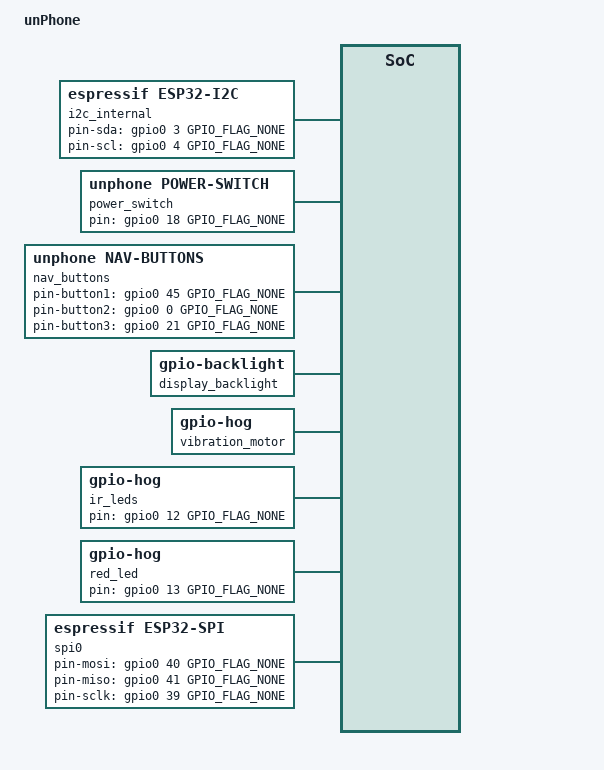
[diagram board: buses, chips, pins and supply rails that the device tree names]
/dts-v1/;

#include <tactility/bindings/root.h>
#include <tactility/bindings/esp32_ble.h>
#include <tactility/bindings/esp32_wifi_pinned.h>
#include <tactility/bindings/esp32_gpio.h>
#include <tactility/bindings/esp32_i2c.h>
#include <tactility/bindings/esp32_spi.h>
#include <tactility/bindings/esp32_sdspi.h>
#include <bindings/hx8357.h>
#include <bindings/xpt2046.h>
#include <bindings/tca95xx.h>
#include <bindings/bq24295.h>
#include <bindings/unphone_power_switch.h>
#include <bindings/unphone_nav_buttons.h>
#include <tactility/bindings/gpio_backlight.h>
#include <tactility/bindings/gpio_hog.h>

/ {
	compatible = "root";
	model = "unPhone";

	wifi0 {
		compatible = "espressif,esp32-wifi-pinned";
		status = "disabled";
	};

	ble0 {
		compatible = "espressif,esp32-ble";
		status = "disabled";
	};

	gpio0 {
		compatible = "espressif,esp32-gpio";
		gpio-count = <49>;
	};

	i2c_internal {
		compatible = "espressif,esp32-i2c";
		port = <I2C_NUM_0>;
		clock-frequency = <400000>;
		pin-sda = <&gpio0 3 GPIO_FLAG_NONE>;
		pin-scl = <&gpio0 4 GPIO_FLAG_NONE>;

		tca9535 {
			compatible = "ti,tca9535";
			reg = <0x26>;
		};

		bq24295 {
			compatible = "ti,bq24295";
			reg = <0x6B>;
		};
	};

	power_switch {
		compatible = "unphone,power-switch";
		pin = <&gpio0 18 GPIO_FLAG_NONE>;
	};

	nav_buttons {
		compatible = "unphone,nav-buttons";
		pin-button1 = <&gpio0 45 GPIO_FLAG_NONE>; // left button
		pin-button2 = <&gpio0 0 GPIO_FLAG_NONE>; // middle button
		pin-button3 = <&gpio0 21 GPIO_FLAG_NONE>; // right button
	};

	display_backlight {
		compatible = "gpio-backlight";
		pin = <&tca9535 2 GPIO_FLAG_NONE>;
	};

	usb_vsense {
		compatible = "gpio-hog";
		pin = <&tca9535 14 GPIO_FLAG_NONE>;
		mode = <GPIO_HOG_MODE_INPUT>;
	};

	vibration_motor {
		compatible = "gpio-hog";
		pin = <&tca9535 7 GPIO_FLAG_NONE>;
		mode = <GPIO_HOG_MODE_OUTPUT_LOW>;
	};

	ir_leds {
		compatible = "gpio-hog";
		pin = <&gpio0 12 GPIO_FLAG_NONE>;
		mode = <GPIO_HOG_MODE_OUTPUT_LOW>;
	};

	red_led {
		compatible = "gpio-hog";
		pin = <&gpio0 13 GPIO_FLAG_NONE>;
		mode = <GPIO_HOG_MODE_OUTPUT_LOW>;
	};

	green_led {
		compatible = "gpio-hog";
		pin = <&tca9535 9 GPIO_FLAG_NONE>;
		mode = <GPIO_HOG_MODE_OUTPUT_LOW>;
	};

	blue_led {
		compatible = "gpio-hog";
		pin = <&tca9535 13 GPIO_FLAG_NONE>;
		mode = <GPIO_HOG_MODE_OUTPUT_LOW>;
	};

	spi0 {
		compatible = "espressif,esp32-spi";
		host = <SPI2_HOST>;
		cs-gpios = <&gpio0 48 GPIO_FLAG_NONE>, // Display
		           <&gpio0 38 GPIO_FLAG_NONE>, // Touch
		           <&gpio0 43 GPIO_FLAG_NONE>; // SD card
		pin-mosi = <&gpio0 40 GPIO_FLAG_NONE>;
		pin-miso = <&gpio0 41 GPIO_FLAG_NONE>;
		pin-sclk = <&gpio0 39 GPIO_FLAG_NONE>;
		max-transfer-size = <65536>;

		display@0 {
			compatible = "himax,hx8357";
			horizontal-resolution = <320>;
			vertical-resolution = <480>;
			mirror-x;
			pixel-clock-hz = <26000000>;
			pin-dc = <&gpio0 47 GPIO_FLAG_NONE>;
			pin-reset = <&gpio0 46 GPIO_FLAG_NONE>;
			backlight = <&display_backlight>;
		};

		touch@1 {
			compatible = "xptek,xpt2046";
			x-max = <320>;
			y-max = <480>;
			power-supply;
		};

		sdcard@2 {
			compatible = "espressif,esp32-sdspi";
			frequency-khz = <20000>;
		};
	};
};
